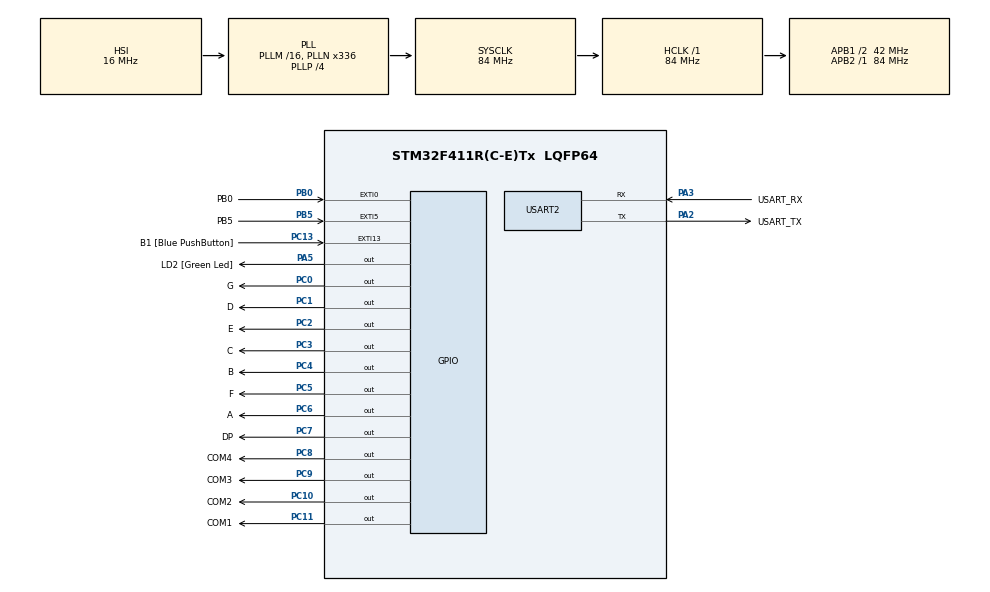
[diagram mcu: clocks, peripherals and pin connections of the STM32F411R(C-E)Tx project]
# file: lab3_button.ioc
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Mcu.Family=STM32F4
Mcu.Name=STM32F411R(C-E)Tx
Mcu.Package=LQFP64
NVIC.EXTI0_IRQn=true\:0\:0\:false\:false\:true\:true\:true\:true
NVIC.EXTI9_5_IRQn=true\:0\:0\:false\:false\:true\:true\:true\:true
NVIC.PriorityGroup=NVIC_PRIORITYGROUP_0
NVIC.TIM1_TRG_COM_TIM11_IRQn=true\:0\:0\:false\:false\:true\:true\:true\:true
NVIC.TIM1_UP_TIM10_IRQn=true\:0\:0\:false\:false\:true\:true\:true\:true
PA13.GPIO_Label=TMS
PA13.Mode=Serial_Wire
PA13.Signal=SYS_JTMS-SWDIO
PA14.GPIO_Label=TCK
PA14.Mode=Serial_Wire
PA14.Signal=SYS_JTCK-SWCLK
PA2.GPIO_Label=USART_TX
PA2.Mode=Asynchronous
PA2.Signal=USART2_TX
PA3.GPIO_Label=USART_RX
PA3.Mode=Asynchronous
PA3.Signal=USART2_RX
PA5.GPIO_Label=LD2 [Green Led]
PA5.Signal=GPIO_Output
PB0.GPIO_Label=PB0
PB0.GPIO_ModeDefaultEXTI=GPIO_MODE_IT_FALLING
PB0.GPIO_PuPd=GPIO_PULLUP
PB0.Signal=GPXTI0
PB3.GPIO_Label=SWO
PB3.Signal=SYS_JTDO-SWO
PB5.GPIO_Label=PB5
PB5.GPIO_ModeDefaultEXTI=GPIO_MODE_IT_FALLING
PB5.GPIO_PuPd=GPIO_PULLUP
PB5.Signal=GPXTI5
PC0.GPIO_Label=G
PC0.Signal=GPIO_Output
PC1.GPIO_Label=D
PC1.Signal=GPIO_Output
PC10.GPIO_Label=COM2
PC10.Signal=GPIO_Output
PC11.GPIO_Label=COM1
PC11.Signal=GPIO_Output
PC13-ANTI_TAMP.GPIO_Label=B1 [Blue PushButton]
PC13-ANTI_TAMP.GPIO_ModeDefaultEXTI=GPIO_MODE_IT_FALLING
PC13-ANTI_TAMP.Signal=GPXTI13
PC14-OSC32_IN.Mode=LSE-External-Oscillator
PC14-OSC32_IN.Signal=RCC_OSC32_IN
PC15-OSC32_OUT.Mode=LSE-External-Oscillator
PC15-OSC32_OUT.Signal=RCC_OSC32_OUT
PC2.GPIO_Label=E
PC2.Signal=GPIO_Output
PC3.GPIO_Label=C
PC3.Signal=GPIO_Output
PC4.GPIO_Label=B
PC4.Signal=GPIO_Output
PC5.GPIO_Label=F
PC5.Signal=GPIO_Output
PC6.GPIO_Label=A
PC6.Signal=GPIO_Output
PC7.GPIO_Label=DP
PC7.Signal=GPIO_Output
PC8.GPIO_Label=COM4
PC8.Signal=GPIO_Output
PC9.GPIO_Label=COM3
PC9.Signal=GPIO_Output
PH0\ -\ OSC_IN.Mode=HSE-External-Clock-Source
PH0\ -\ OSC_IN.Signal=RCC_OSC_IN
PH1\ -\ OSC_OUT.Mode=HSE-External-Clock-Source
PH1\ -\ OSC_OUT.Signal=RCC_OSC_OUT
ProjectManager.HeapSize=0x200
ProjectManager.StackSize=0x400
ProjectManager.TargetToolchain=STM32CubeIDE
RCC.48MHZClocksFreq_Value=84000000
RCC.AHBFreq_Value=84000000
RCC.APB1CLKDivider=RCC_HCLK_DIV2
RCC.APB1Freq_Value=42000000
RCC.APB1TimFreq_Value=84000000
RCC.APB2Freq_Value=84000000
RCC.APB2TimFreq_Value=84000000
RCC.CortexFreq_Value=84000000
RCC.FLatency-AdvancedSettings=FLASH_LATENCY_2
RCC.HCLKFreq_Value=84000000
RCC.HSE_VALUE=8000000
RCC.HSI_VALUE=16000000
RCC.PLLN=336
RCC.PLLP=RCC_PLLP_DIV4
RCC.SYSCLKFreq_VALUE=84000000
RCC.SYSCLKSource=RCC_SYSCLKSOURCE_PLLCLK
RCC.VCOOutputFreq_Value=336000000
TIM10.Period=499
TIM10.Prescaler=8399
TIM11.Period=9
TIM11.Prescaler=8399
USART2.VirtualMode=VM_ASYNC
VP_TIM10_VS_ClockSourceINT.Mode=Enable_Timer
VP_TIM11_VS_ClockSourceINT.Mode=Enable_Timer
board=NUCLEO-F411RE

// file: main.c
/* USER CODE BEGIN Header */
/**
  ******************************************************************************
  * @file           : main.c
  * @brief          : Main program body
  ******************************************************************************
  * @attention
  *
  * Copyright (c) 2023 STMicroelectronics.
  * All rights reserved.
  *
  * This software is licensed under terms that can be found in the LICENSE file
  * in the root directory of this software component.
  * If no LICENSE file comes with this software, it is provided AS-IS.
  *
  ******************************************************************************
  */
/* USER CODE END Header */
#include "main.h"

/* USER CODE BEGIN Includes */
#include <stdbool.h>
/* USER CODE END Includes */

TIM_HandleTypeDef htim10;
TIM_HandleTypeDef htim11;

UART_HandleTypeDef huart2;

/* USER CODE BEGIN PV */
// display
volatile uint8_t callback_counter = 0;
volatile uint8_t thousands;
volatile uint8_t hundreds;
volatile uint8_t tens;
volatile uint8_t ones;

// number for display
volatile uint16_t number;

// button bounce haltick
//volatile uint32_t t1 = 0;
//volatile uint32_t t2 = 0;

// button timer
volatile bool state = true;
/* USER CODE END PV */

void SystemClock_Config(void);
static void MX_GPIO_Init(void);
static void MX_USART2_UART_Init(void);
static void MX_TIM11_Init(void);
static void MX_TIM10_Init(void);
/* USER CODE BEGIN PFP */
void com_change(uint8_t com);
void disp_change(uint8_t num);

// button interrupt counter
void HAL_GPIO_EXTI_Callback(uint16_t GPIO_Pin){
//	t2 = HAL_GetTick();
//	if(GPIO_Pin == PB5_Pin && t2 - t1 > 20) {
//		if (number == 10000){
//			number = 0;
//		}
//		else {
//			number++;
//		}
//	}
//	if(GPIO_Pin == PB0_Pin && t2 - t1 > 20) {
//		if (number == 0) {
//			number = 9999;
//		}
//		else {
//			number--;
//		}
//	}
//	t1 = t2;
	if((GPIO_Pin == PB0_Pin || GPIO_Pin == PB5_Pin) && state == 1) {
			HAL_TIM_Base_Start_IT(&htim10);
			state = false;
		}
		else{
			__NOP();
		}
}

void HAL_TIM_PeriodElapsedCallback(TIM_HandleTypeDef *htim) {
	if (htim->Instance == TIM10){
		if(HAL_GPIO_ReadPin(PB0_GPIO_Port, PB0_Pin) == GPIO_PIN_RESET){
			if (number == 0) {
				number = 9999;
			}
			else {
				number--;
			}
		}
		if(HAL_GPIO_ReadPin(PB5_GPIO_Port, PB5_Pin) == GPIO_PIN_RESET) {
			if (number == 9999){
				number = 0;
			}
			else {
				number++;
			}
		}
		state = true;
		HAL_TIM_Base_Stop_IT(&htim10);
	}
	if (htim->Instance == TIM11) {
		// Green LED FLASH
		HAL_GPIO_TogglePin(LD2_GPIO_Port, LD2_Pin);

		// Displaying numbers
		if(callback_counter == 0) {
			// decoding
			ones = number % 10;
			tens = (number / 10) % 10;
			hundreds = (number / 100) % 10;
			thousands = (number / 1000) % 10;

			// turning off all displays
			com_change(0);

			// number set
			disp_change(thousands);

			// turning on display 1
			if (thousands != 0) {
			com_change(1);
			}
			callback_counter++;
		}
		else if (callback_counter == 1) {
			// turning off all displays
			com_change(0);

			// number set
			disp_change(hundreds);

			// turning on display 2
			if (hundreds != 0 || thousands != 0) {
			com_change(2);
			}
			callback_counter++;
		}
		else if (callback_counter == 2) {
			// turning off all displays
			com_change(0);

			// number set
			disp_change(tens);

			// turning on display 3
			if (thousands != 0 || hundreds != 0 || tens != 0) {
			com_change(3);
			}
			callback_counter++;
		}
		else if (callback_counter == 3) {
			// turning off all displays
			com_change(0);

			// number set
			disp_change(ones);

			// turning on display 4
			com_change(4);
			callback_counter = 0;
		}
	}
}

void com_change(uint8_t com) {
	switch(com) {
	case 1:
		HAL_GPIO_WritePin(GPIOC, COM1_Pin, GPIO_PIN_RESET);
		HAL_GPIO_WritePin(GPIOC, COM2_Pin, GPIO_PIN_SET);
		HAL_GPIO_WritePin(GPIOC, COM3_Pin, GPIO_PIN_SET);
		HAL_GPIO_WritePin(GPIOC, COM4_Pin, GPIO_PIN_SET);
		break;
	case 2:
		HAL_GPIO_WritePin(GPIOC, COM1_Pin, GPIO_PIN_SET);
		HAL_GPIO_WritePin(GPIOC, COM2_Pin, GPIO_PIN_RESET);
		HAL_GPIO_WritePin(GPIOC, COM3_Pin, GPIO_PIN_SET);
		HAL_GPIO_WritePin(GPIOC, COM4_Pin, GPIO_PIN_SET);
		break;
	case 3:
		HAL_GPIO_WritePin(GPIOC, COM1_Pin, GPIO_PIN_SET);
		HAL_GPIO_WritePin(GPIOC, COM2_Pin, GPIO_PIN_SET);
		HAL_GPIO_WritePin(GPIOC, COM3_Pin, GPIO_PIN_RESET);
		HAL_GPIO_WritePin(GPIOC, COM4_Pin, GPIO_PIN_SET);
		break;
	case 4:
		HAL_GPIO_WritePin(GPIOC, COM1_Pin, GPIO_PIN_SET);
		HAL_GPIO_WritePin(GPIOC, COM2_Pin, GPIO_PIN_SET);
		HAL_GPIO_WritePin(GPIOC, COM3_Pin, GPIO_PIN_SET);
		HAL_GPIO_WritePin(GPIOC, COM4_Pin, GPIO_PIN_RESET);
		break;
	default:
		HAL_GPIO_WritePin(GPIOC, COM1_Pin, GPIO_PIN_SET);
		HAL_GPIO_WritePin(GPIOC, COM2_Pin, GPIO_PIN_SET);
		HAL_GPIO_WritePin(GPIOC, COM3_Pin, GPIO_PIN_SET);
		HAL_GPIO_WritePin(GPIOC, COM4_Pin, GPIO_PIN_SET);
		break;
	}
}

void disp_change(uint8_t num) {
	switch(num) {
	case 0:
		HAL_GPIO_WritePin(GPIOC, A_Pin, GPIO_PIN_SET);
		HAL_GPIO_WritePin(GPIOC, B_Pin, GPIO_PIN_SET);
		HAL_GPIO_WritePin(GPIOC, C_Pin, GPIO_PIN_SET);
		HAL_GPIO_WritePin(GPIOC, D_Pin, GPIO_PIN_SET);
		HAL_GPIO_WritePin(GPIOC, E_Pin, GPIO_PIN_SET);
		HAL_GPIO_WritePin(GPIOC, F_Pin, GPIO_PIN_SET);
		HAL_GPIO_WritePin(GPIOC, G_Pin, GPIO_PIN_RESET);
		break;
	case 1:
		HAL_GPIO_WritePin(GPIOC, A_Pin, GPIO_PIN_RESET);
		HAL_GPIO_WritePin(GPIOC, B_Pin, GPIO_PIN_SET);
		HAL_GPIO_WritePin(GPIOC, C_Pin, GPIO_PIN_SET);
		HAL_GPIO_WritePin(GPIOC, D_Pin, GPIO_PIN_RESET);
		HAL_GPIO_WritePin(GPIOC, E_Pin, GPIO_PIN_RESET);
		HAL_GPIO_WritePin(GPIOC, F_Pin, GPIO_PIN_RESET);
		HAL_GPIO_WritePin(GPIOC, G_Pin, GPIO_PIN_RESET);
		break;
	case 2:
		HAL_GPIO_WritePin(GPIOC, A_Pin, GPIO_PIN_SET);
		HAL_GPIO_WritePin(GPIOC, B_Pin, GPIO_PIN_SET);
		HAL_GPIO_WritePin(GPIOC, C_Pin, GPIO_PIN_RESET);
		HAL_GPIO_WritePin(GPIOC, D_Pin, GPIO_PIN_SET);
		HAL_GPIO_WritePin(GPIOC, E_Pin, GPIO_PIN_SET);
		HAL_GPIO_WritePin(GPIOC, F_Pin, GPIO_PIN_RESET);
		HAL_GPIO_WritePin(GPIOC, G_Pin, GPIO_PIN_SET);
		break;
	case 3:
		HAL_GPIO_WritePin(GPIOC, A_Pin, GPIO_PIN_SET);
		HAL_GPIO_WritePin(GPIOC, B_Pin, GPIO_PIN_SET);
		HAL_GPIO_WritePin(GPIOC, C_Pin, GPIO_PIN_SET);
		HAL_GPIO_WritePin(GPIOC, D_Pin, GPIO_PIN_SET);
		HAL_GPIO_WritePin(GPIOC, E_Pin, GPIO_PIN_RESET);
		HAL_GPIO_WritePin(GPIOC, F_Pin, GPIO_PIN_RESET);
		HAL_GPIO_WritePin(GPIOC, G_Pin, GPIO_PIN_SET);
		break;
	case 4:
		HAL_GPIO_WritePin(GPIOC, A_Pin, GPIO_PIN_RESET);
		HAL_GPIO_WritePin(GPIOC, B_Pin, GPIO_PIN_SET);
		HAL_GPIO_WritePin(GPIOC, C_Pin, GPIO_PIN_SET);
		HAL_GPIO_WritePin(GPIOC, D_Pin, GPIO_PIN_RESET);
		HAL_GPIO_WritePin(GPIOC, E_Pin, GPIO_PIN_RESET);
		HAL_GPIO_WritePin(GPIOC, F_Pin, GPIO_PIN_SET);
		HAL_GPIO_WritePin(GPIOC, G_Pin, GPIO_PIN_SET);
		break;
	case 5:
		HAL_GPIO_WritePin(GPIOC, A_Pin, GPIO_PIN_SET);
		HAL_GPIO_WritePin(GPIOC, B_Pin, GPIO_PIN_RESET);
		HAL_GPIO_WritePin(GPIOC, C_Pin, GPIO_PIN_SET);
		HAL_GPIO_WritePin(GPIOC, D_Pin, GPIO_PIN_SET);
		HAL_GPIO_WritePin(GPIOC, E_Pin, GPIO_PIN_RESET);
		HAL_GPIO_WritePin(GPIOC, F_Pin, GPIO_PIN_SET);
		HAL_GPIO_WritePin(GPIOC, G_Pin, GPIO_PIN_SET);
		break;
	case 6:
		HAL_GPIO_WritePin(GPIOC, A_Pin, GPIO_PIN_SET);
		HAL_GPIO_WritePin(GPIOC, B_Pin, GPIO_PIN_RESET);
		HAL_GPIO_WritePin(GPIOC, C_Pin, GPIO_PIN_SET);
		HAL_GPIO_WritePin(GPIOC, D_Pin, GPIO_PIN_SET);
		HAL_GPIO_WritePin(GPIOC, E_Pin, GPIO_PIN_SET);
		HAL_GPIO_WritePin(GPIOC, F_Pin, GPIO_PIN_SET);
		HAL_GPIO_WritePin(GPIOC, G_Pin, GPIO_PIN_SET);
		break;
	case 7:
		HAL_GPIO_WritePin(GPIOC, A_Pin, GPIO_PIN_SET);
		HAL_GPIO_WritePin(GPIOC, B_Pin, GPIO_PIN_SET);
		HAL_GPIO_WritePin(GPIOC, C_Pin, GPIO_PIN_SET);
		HAL_GPIO_WritePin(GPIOC, D_Pin, GPIO_PIN_RESET);
		HAL_GPIO_WritePin(GPIOC, E_Pin, GPIO_PIN_RESET);
		HAL_GPIO_WritePin(GPIOC, F_Pin, GPIO_PIN_RESET);
		HAL_GPIO_WritePin(GPIOC, G_Pin, GPIO_PIN_RESET);
		break;
	case 8:
		HAL_GPIO_WritePin(GPIOC, A_Pin, GPIO_PIN_SET);
		HAL_GPIO_WritePin(GPIOC, B_Pin, GPIO_PIN_SET);
		HAL_GPIO_WritePin(GPIOC, C_Pin, GPIO_PIN_SET);
		HAL_GPIO_WritePin(GPIOC, D_Pin, GPIO_PIN_SET);
		HAL_GPIO_WritePin(GPIOC, E_Pin, GPIO_PIN_SET);
		HAL_GPIO_WritePin(GPIOC, F_Pin, GPIO_PIN_SET);
		HAL_GPIO_WritePin(GPIOC, G_Pin, GPIO_PIN_SET);
		break;
	case 9:
		HAL_GPIO_WritePin(GPIOC, A_Pin, GPIO_PIN_SET);
		HAL_GPIO_WritePin(GPIOC, B_Pin, GPIO_PIN_SET);
		HAL_GPIO_WritePin(GPIOC, C_Pin, GPIO_PIN_SET);
		HAL_GPIO_WritePin(GPIOC, D_Pin, GPIO_PIN_SET);
		HAL_GPIO_WritePin(GPIOC, E_Pin, GPIO_PIN_RESET);
		HAL_GPIO_WritePin(GPIOC, F_Pin, GPIO_PIN_SET);
		HAL_GPIO_WritePin(GPIOC, G_Pin, GPIO_PIN_SET);
		break;
	default:
		HAL_GPIO_WritePin(GPIOC, A_Pin, GPIO_PIN_RESET);
		HAL_GPIO_WritePin(GPIOC, B_Pin, GPIO_PIN_RESET);
		HAL_GPIO_WritePin(GPIOC, C_Pin, GPIO_PIN_RESET);
		HAL_GPIO_WritePin(GPIOC, D_Pin, GPIO_PIN_RESET);
		HAL_GPIO_WritePin(GPIOC, E_Pin, GPIO_PIN_RESET);
		HAL_GPIO_WritePin(GPIOC, F_Pin, GPIO_PIN_RESET);
		HAL_GPIO_WritePin(GPIOC, G_Pin, GPIO_PIN_RESET);
		break;
	}
}
/* USER CODE END PFP */

int main(void)
{

  /* MCU Configuration--------------------------------------------------------*/

  /* Reset of all peripherals, Initializes the Flash interface and the Systick. */
  HAL_Init();

  /* Configure the system clock */
  SystemClock_Config();

  /* Initialize all configured peripherals */
  MX_GPIO_Init();
  MX_USART2_UART_Init();
  MX_TIM11_Init();
  MX_TIM10_Init();
  /* USER CODE BEGIN 2 */
  // timer with interruption
  HAL_TIM_Base_Start_IT(&htim11);
  /* USER CODE END 2 */

  /* Infinite loop */
  /* USER CODE BEGIN WHILE */
  while (1)
  {
//	  for (uint16_t i = 0; i < 10000; i++) {
//		  number++;
//		  HAL_Delay(100);
//	  }
//	  number = 0;
    /* USER CODE END WHILE */

  }
}

void SystemClock_Config(void)
{
  RCC_OscInitTypeDef RCC_OscInitStruct = {0};
  RCC_ClkInitTypeDef RCC_ClkInitStruct = {0};

  /** Configure the main internal regulator output voltage
  */
  __HAL_RCC_PWR_CLK_ENABLE();
  __HAL_PWR_VOLTAGESCALING_CONFIG(PWR_REGULATOR_VOLTAGE_SCALE1);

  /** Initializes the RCC Oscillators according to the specified parameters
  * in the RCC_OscInitTypeDef structure.
  */
  RCC_OscInitStruct.OscillatorType = RCC_OSCILLATORTYPE_HSI;
  RCC_OscInitStruct.HSIState = RCC_HSI_ON;
  RCC_OscInitStruct.HSICalibrationValue = RCC_HSICALIBRATION_DEFAULT;
  RCC_OscInitStruct.PLL.PLLState = RCC_PLL_ON;
  RCC_OscInitStruct.PLL.PLLSource = RCC_PLLSOURCE_HSI;
  RCC_OscInitStruct.PLL.PLLM = 16;
  RCC_OscInitStruct.PLL.PLLN = 336;
  RCC_OscInitStruct.PLL.PLLP = RCC_PLLP_DIV4;
  RCC_OscInitStruct.PLL.PLLQ = 4;
  if (HAL_RCC_OscConfig(&RCC_OscInitStruct) != HAL_OK)
  {
    Error_Handler();
  }

  /** Initializes the CPU, AHB and APB buses clocks
  */
  RCC_ClkInitStruct.ClockType = RCC_CLOCKTYPE_HCLK|RCC_CLOCKTYPE_SYSCLK
                              |RCC_CLOCKTYPE_PCLK1|RCC_CLOCKTYPE_PCLK2;
  RCC_ClkInitStruct.SYSCLKSource = RCC_SYSCLKSOURCE_PLLCLK;
  RCC_ClkInitStruct.AHBCLKDivider = RCC_SYSCLK_DIV1;
  RCC_ClkInitStruct.APB1CLKDivider = RCC_HCLK_DIV2;
  RCC_ClkInitStruct.APB2CLKDivider = RCC_HCLK_DIV1;

  if (HAL_RCC_ClockConfig(&RCC_ClkInitStruct, FLASH_LATENCY_2) != HAL_OK)
  {
    Error_Handler();
  }
}

static void MX_TIM10_Init(void)
{

  htim10.Instance = TIM10;
  htim10.Init.Prescaler = 8399;
  htim10.Init.CounterMode = TIM_COUNTERMODE_UP;
  htim10.Init.Period = 499;
  htim10.Init.ClockDivision = TIM_CLOCKDIVISION_DIV1;
  htim10.Init.AutoReloadPreload = TIM_AUTORELOAD_PRELOAD_DISABLE;
  if (HAL_TIM_Base_Init(&htim10) != HAL_OK)
  {
    Error_Handler();
  }

}

static void MX_TIM11_Init(void)
{

  htim11.Instance = TIM11;
  htim11.Init.Prescaler = 8399;
  htim11.Init.CounterMode = TIM_COUNTERMODE_UP;
  htim11.Init.Period = 9;
  htim11.Init.ClockDivision = TIM_CLOCKDIVISION_DIV1;
  htim11.Init.AutoReloadPreload = TIM_AUTORELOAD_PRELOAD_DISABLE;
  if (HAL_TIM_Base_Init(&htim11) != HAL_OK)
  {
    Error_Handler();
  }

}

static void MX_USART2_UART_Init(void)
{

  huart2.Instance = USART2;
  huart2.Init.BaudRate = 115200;
  huart2.Init.WordLength = UART_WORDLENGTH_8B;
  huart2.Init.StopBits = UART_STOPBITS_1;
  huart2.Init.Parity = UART_PARITY_NONE;
  huart2.Init.Mode = UART_MODE_TX_RX;
  huart2.Init.HwFlowCtl = UART_HWCONTROL_NONE;
  huart2.Init.OverSampling = UART_OVERSAMPLING_16;
  if (HAL_UART_Init(&huart2) != HAL_OK)
  {
    Error_Handler();
  }

}

static void MX_GPIO_Init(void)
{
  GPIO_InitTypeDef GPIO_InitStruct = {0};

  /* GPIO Ports Clock Enable */
  __HAL_RCC_GPIOC_CLK_ENABLE();
  __HAL_RCC_GPIOH_CLK_ENABLE();
  __HAL_RCC_GPIOA_CLK_ENABLE();
  __HAL_RCC_GPIOB_CLK_ENABLE();

  /*Configure GPIO pin Output Level */
  HAL_GPIO_WritePin(GPIOC, G_Pin|D_Pin|E_Pin|C_Pin
                          |B_Pin|F_Pin|A_Pin|DP_Pin
                          |COM4_Pin|COM3_Pin|COM2_Pin|COM1_Pin, GPIO_PIN_RESET);

  /*Configure GPIO pin Output Level */
  HAL_GPIO_WritePin(LD2_GPIO_Port, LD2_Pin, GPIO_PIN_RESET);

  /*Configure GPIO pin : B1_Pin */
  GPIO_InitStruct.Pin = B1_Pin;
  GPIO_InitStruct.Mode = GPIO_MODE_IT_FALLING;
  GPIO_InitStruct.Pull = GPIO_NOPULL;
  HAL_GPIO_Init(B1_GPIO_Port, &GPIO_InitStruct);

  /*Configure GPIO pins : G_Pin D_Pin E_Pin C_Pin
                           B_Pin F_Pin A_Pin DP_Pin
                           COM4_Pin COM3_Pin COM2_Pin COM1_Pin */
  GPIO_InitStruct.Pin = G_Pin|D_Pin|E_Pin|C_Pin
                          |B_Pin|F_Pin|A_Pin|DP_Pin
                          |COM4_Pin|COM3_Pin|COM2_Pin|COM1_Pin;
  GPIO_InitStruct.Mode = GPIO_MODE_OUTPUT_PP;
  GPIO_InitStruct.Pull = GPIO_NOPULL;
  GPIO_InitStruct.Speed = GPIO_SPEED_FREQ_LOW;
  HAL_GPIO_Init(GPIOC, &GPIO_InitStruct);

  /*Configure GPIO pin : LD2_Pin */
  GPIO_InitStruct.Pin = LD2_Pin;
  GPIO_InitStruct.Mode = GPIO_MODE_OUTPUT_PP;
  GPIO_InitStruct.Pull = GPIO_NOPULL;
  GPIO_InitStruct.Speed = GPIO_SPEED_FREQ_LOW;
  HAL_GPIO_Init(LD2_GPIO_Port, &GPIO_InitStruct);

  /*Configure GPIO pins : PB0_Pin PB5_Pin */
  GPIO_InitStruct.Pin = PB0_Pin|PB5_Pin;
  GPIO_InitStruct.Mode = GPIO_MODE_IT_FALLING;
  GPIO_InitStruct.Pull = GPIO_PULLUP;
  HAL_GPIO_Init(GPIOB, &GPIO_InitStruct);

  /* EXTI interrupt init*/
  HAL_NVIC_SetPriority(EXTI0_IRQn, 0, 0);
  HAL_NVIC_EnableIRQ(EXTI0_IRQn);

  HAL_NVIC_SetPriority(EXTI9_5_IRQn, 0, 0);
  HAL_NVIC_EnableIRQ(EXTI9_5_IRQn);

}

void Error_Handler(void)
{
  __disable_irq();
  while (1)
  {
  }
}
